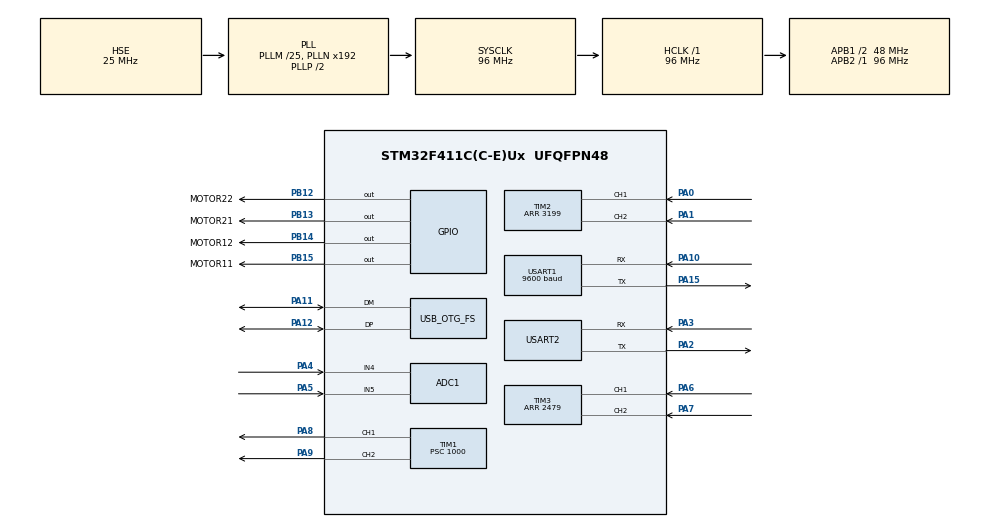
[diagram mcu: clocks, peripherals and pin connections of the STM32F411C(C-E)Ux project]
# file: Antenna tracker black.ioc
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ADC1.Channel-3\#ChannelRegularConversion=ADC_CHANNEL_4
ADC1.Channel-4\#ChannelRegularConversion=ADC_CHANNEL_5
ADC1.ClockPrescaler=ADC_CLOCK_SYNC_PCLK_DIV8
ADC1.ContinuousConvMode=ENABLE
ADC1.DMAContinuousRequests=ENABLE
ADC1.NbrOfConversion=2
ADC1.NbrOfConversionFlag=1
ADC1.Rank-3\#ChannelRegularConversion=1
ADC1.Rank-4\#ChannelRegularConversion=2
ADC1.SamplingTime-3\#ChannelRegularConversion=ADC_SAMPLETIME_480CYCLES
ADC1.SamplingTime-4\#ChannelRegularConversion=ADC_SAMPLETIME_480CYCLES
ADC1.ScanConvMode=ENABLE
ADC1.master=1
Dma.ADC1.0.Direction=DMA_PERIPH_TO_MEMORY
Dma.ADC1.0.FIFOMode=DMA_FIFOMODE_DISABLE
Dma.ADC1.0.Instance=DMA2_Stream0
Dma.ADC1.0.MemDataAlignment=DMA_MDATAALIGN_HALFWORD
Dma.ADC1.0.MemInc=DMA_MINC_ENABLE
Dma.ADC1.0.Mode=DMA_CIRCULAR
Dma.ADC1.0.PeriphDataAlignment=DMA_PDATAALIGN_HALFWORD
Dma.ADC1.0.PeriphInc=DMA_PINC_DISABLE
Dma.ADC1.0.Priority=DMA_PRIORITY_LOW
Dma.Request0=ADC1
Mcu.Family=STM32F4
Mcu.Name=STM32F411C(C-E)Ux
Mcu.Package=UFQFPN48
NVIC.ADC_IRQn=true\:0\:0\:false\:false\:true\:true\:true
NVIC.DMA2_Stream0_IRQn=true\:0\:0\:false\:false\:true\:false\:true
NVIC.OTG_FS_IRQn=true\:0\:0\:false\:false\:true\:false\:true
NVIC.PVD_IRQn=true\:0\:0\:false\:false\:true\:true\:true
NVIC.PriorityGroup=NVIC_PRIORITYGROUP_4
NVIC.TIM1_UP_TIM10_IRQn=true\:0\:0\:false\:false\:true\:true\:true
NVIC.TIM4_IRQn=true\:0\:0\:false\:false\:true\:true\:true
NVIC.TIM5_IRQn=true\:0\:0\:false\:false\:true\:true\:true
NVIC.USART1_IRQn=true\:0\:0\:false\:false\:true\:true\:true
NVIC.USART2_IRQn=true\:0\:0\:false\:false\:true\:true\:true
PA0-WKUP.Signal=S_TIM2_CH1_ETR
PA1.Signal=S_TIM2_CH2
PA10.Mode=Asynchronous
PA10.Signal=USART1_RX
PA11.Mode=Device_Only
PA11.Signal=USB_OTG_FS_DM
PA12.Mode=Device_Only
PA12.Signal=USB_OTG_FS_DP
PA13.Mode=Serial_Wire
PA13.Signal=SYS_JTMS-SWDIO
PA14.Mode=Serial_Wire
PA14.Signal=SYS_JTCK-SWCLK
PA15.Mode=Asynchronous
PA15.Signal=USART1_TX
PA2.Mode=Asynchronous
PA2.Signal=USART2_TX
PA3.Mode=Asynchronous
PA3.Signal=USART2_RX
PA4.Signal=ADCx_IN4
PA5.Signal=ADCx_IN5
PA6.Signal=S_TIM3_CH1
PA7.Signal=S_TIM3_CH2
PA8.Signal=S_TIM1_CH1
PA9.Signal=S_TIM1_CH2
PB12.GPIO_Label=MOTOR22
PB12.Signal=GPIO_Output
PB13.GPIO_Label=MOTOR21
PB13.Signal=GPIO_Output
PB14.GPIO_Label=MOTOR12
PB14.Signal=GPIO_Output
PB15.GPIO_Label=MOTOR11
PB15.Signal=GPIO_Output
PC14-OSC32_IN.Mode=LSE-External-Oscillator
PC14-OSC32_IN.Signal=RCC_OSC32_IN
PC15-OSC32_OUT.Mode=LSE-External-Oscillator
PC15-OSC32_OUT.Signal=RCC_OSC32_OUT
PH0\ -\ OSC_IN.Mode=HSE-External-Oscillator
PH0\ -\ OSC_IN.Signal=RCC_OSC_IN
PH1\ -\ OSC_OUT.Mode=HSE-External-Oscillator
PH1\ -\ OSC_OUT.Signal=RCC_OSC_OUT
ProjectManager.HeapSize=0x200
ProjectManager.StackSize=0x400
ProjectManager.TargetToolchain=STM32CubeIDE
RCC.48MHZClocksFreq_Value=48000000
RCC.AHBFreq_Value=96000000
RCC.APB1CLKDivider=RCC_HCLK_DIV2
RCC.APB1Freq_Value=48000000
RCC.APB1TimFreq_Value=96000000
RCC.APB2Freq_Value=96000000
RCC.APB2TimFreq_Value=96000000
RCC.CortexFreq_Value=96000000
RCC.HCLKFreq_Value=96000000
RCC.HSE_VALUE=25000000
RCC.HSI_VALUE=16000000
RCC.PLLM=25
RCC.RCC_RTC_Clock_Source=RCC_RTCCLKSOURCE_LSI
RCC.RCC_RTC_Clock_SourceVirtual=RCC_RTCCLKSOURCE_LSI
RCC.SYSCLKFreq_VALUE=96000000
RCC.SYSCLKSource=RCC_SYSCLKSOURCE_PLLCLK
RCC.VCOOutputFreq_Value=192000000
SH.ADCx_IN4.0=ADC1_IN4,IN4
SH.ADCx_IN5.0=ADC1_IN5,IN5
SH.S_TIM1_CH1.0=TIM1_CH1,PWM Generation1 CH1
SH.S_TIM1_CH2.0=TIM1_CH2,PWM Generation2 CH2
SH.S_TIM2_CH1_ETR.0=TIM2_CH1,Encoder_Interface
SH.S_TIM2_CH2.0=TIM2_CH2,Encoder_Interface
SH.S_TIM3_CH1.0=TIM3_CH1,Encoder_Interface
SH.S_TIM3_CH2.0=TIM3_CH2,Encoder_Interface
TIM1.Channel-PWM\ Generation1\ CH1=TIM_CHANNEL_1
TIM1.Channel-PWM\ Generation2\ CH2=TIM_CHANNEL_2
TIM1.Period=4096
TIM1.Prescaler=1000
TIM2.Period=3199
TIM3.Period=2479
TIM4.Period=10
TIM4.Prescaler=9600
TIM5.Period=10000
TIM5.Prescaler=9600
USART1.BaudRate=9600
USART1.VirtualMode=VM_ASYNC
USART2.VirtualMode=VM_ASYNC
USB_DEVICE.CLASS_NAME_FS=CDC
USB_DEVICE.VirtualMode=Cdc
USB_DEVICE.VirtualModeFS=Cdc_FS
USB_OTG_FS.VirtualMode=Device_Only
VP_TIM1_VS_ClockSourceINT.Mode=Internal
VP_TIM4_VS_ClockSourceINT.Mode=Internal
VP_TIM5_VS_ClockSourceINT.Mode=Internal
VP_USB_DEVICE_VS_USB_DEVICE_CDC_FS.Mode=CDC_FS
board=custom

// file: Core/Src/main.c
/* USER CODE BEGIN Header */
/**
  ******************************************************************************
  * @file           : main.c
  * @brief          : Main program body
  ******************************************************************************
  * @attention
  *
  * <h2><center>&copy; Copyright (c) 2020 STMicroelectronics.
  * All rights reserved.</center></h2>
  *
  * This software component is licensed by ST under BSD 3-Clause license,
  * the "License"; You may not use this file except in compliance with the
  * License. You may obtain a copy of the License at:
  *                        opensource.org/licenses/BSD-3-Clause
  *
  ******************************************************************************
  */
/* USER CODE END Header */

#include "main.h"
#include "adc.h"
#include "dma.h"
#include "tim.h"
#include "usart.h"
#include "usb_device.h"
#include "gpio.h"

/* USER CODE BEGIN Includes */
#include "pid.h"
#include "GPS.h"
#include <math.h>

/* USER CODE END Includes */

/* USER CODE BEGIN PTD */

typedef struct {
	double Latitude;
	double Longitude;
	double Height;
	uint32_t timestamp;
 }position;

/* USER CODE END PTD */

/* USER CODE BEGIN PV */

uint8_t DataToSend[100]; // Tablica zawierajaca dane do wyslania
uint8_t MessageCounter = 0; // Licznik wyslanych wiadomosci
uint8_t MessageLength = 0; // Zawiera dlugosc wysylanej wiadomosci
uint8_t ReceivedData[100]; // Tablica przechowujaca odebrane dane
uint8_t ReceivedDataFlag = 0; // Flaga informujaca o odebraniu danych

double g_azimuth, g_altitude, g_distance;

volatile uint16_t pulse_count_azimuth = 1600; // Licznik impulsow
volatile double positions_azimuth; // Licznik przekreconych pozycji

volatile uint16_t pulse_count_height = 1240; // Licznik impulsow
volatile double positions_height; // Licznik przekreconych pozycji

volatile int flaga1ms = 0;
volatile int flaga1s = 0;

cpid_t pid_azimuth;
cpid_t pid_height;

//uint16_t feedback[2];

//inicjalizacja dane pozycji - rondo Regana Wrocław
position home_position = { 51.111534, 17.060227, 117.09};
position actual_position = { 51.111534, 17.060227, 117.09};
position old_position = { 51.111534, 17.060227, 117.09};

int setpoint_azimuth = 180;
int setpoint_height = 180;
int pwm_control_height = 0;
int pwm_control_azimuth = 0;

int pwm_control_azimuth_abs = 0;
int pwm_control_height_abs = 0;

int pwm_dir_height = 0;
int pwm_dir_azimuth = 0;

int timer_val = 0;

/* USER CODE END PV */

void SystemClock_Config(void);
/* USER CODE BEGIN PFP */

void HAL_UART_RxCpltCallback(UART_HandleTypeDef *huart) {
 GPS_CallBack();
 //HAL_UART_Transmit_IT(&huart1, "RAMKA", sizeof("RAMKA"));
// HAL_UART_Transmit_IT(&huart1, &Received, 1); // Rozpoczecie nadawania danych z wykorzystaniem przerwan
// HAL_UART_Receive_IT(&huart3, &Received, 1); // Ponowne włączenie nasłuchiwania

 //		GPS.GPGGA.LatitudeDecimal, GPS.GPGGA.LongitudeDecimal, GPS.GPGGA.MSL_Altitude
}

void HAL_TIM_PeriodElapsedCallback(TIM_HandleTypeDef *htim){
	if(htim == &htim4){
			//obsługa przerwania co 1ms
		flaga1ms = 1;
	}
	if(htim == &htim5){
			//obsługa przerwania co 1ms
		flaga1s = 1;
	}
}

int _write(int file, char *ptr, int len){
    //HAL_UART_Transmit(&huart2, (uint8_t*)ptr, len, 50);
    CDC_Transmit_FS((uint8_t*)ptr, len);
    return len;

}

void parse(){
  	char header[1];
  	int32_t PWM1, PWM2, DIR1, DIR2;
  	//PWM1 - height, PWM2 - azimuth

  	sscanf(ReceivedData, "%s %d %d %d %d", &header, &PWM1, &PWM2, &DIR1, &DIR2);
  	if( header[0] == 'S' && PWM1 >= 0 && PWM1 < 65535 && PWM2 >= 0 && PWM2 < 65535 && (DIR1 == 1 || DIR1 == 0) && (DIR2 == 1 || DIR2 == 0) )
  	{
  		//send_json(PWM1, PWM2);
  		__HAL_TIM_SET_COMPARE(&htim1, TIM_CHANNEL_1, PWM1 );
  		__HAL_TIM_SET_COMPARE(&htim1, TIM_CHANNEL_2, PWM2 );

  		if(DIR1 == 1){
  			HAL_GPIO_WritePin(MOTOR11_GPIO_Port, MOTOR11_Pin, GPIO_PIN_SET);
  			HAL_GPIO_WritePin(MOTOR12_GPIO_Port, MOTOR12_Pin, GPIO_PIN_RESET);
  		}

  		if(DIR1 == 0){
  			HAL_GPIO_WritePin(MOTOR11_GPIO_Port, MOTOR11_Pin, GPIO_PIN_RESET);
  			HAL_GPIO_WritePin(MOTOR12_GPIO_Port, MOTOR12_Pin, GPIO_PIN_SET);
  		}

  		if(DIR2 == 1){
  			HAL_GPIO_WritePin(MOTOR21_GPIO_Port, MOTOR21_Pin, GPIO_PIN_SET);
  			HAL_GPIO_WritePin(MOTOR22_GPIO_Port, MOTOR22_Pin, GPIO_PIN_RESET);
  		}

  		if(DIR2 == 0){
  			HAL_GPIO_WritePin(MOTOR21_GPIO_Port, MOTOR21_Pin, GPIO_PIN_RESET);
  			HAL_GPIO_WritePin(MOTOR22_GPIO_Port, MOTOR22_Pin, GPIO_PIN_SET);
  		}

  		if( PWM1 == 0 && PWM2 ==0 ){
  			HAL_GPIO_WritePin(MOTOR11_GPIO_Port, MOTOR11_Pin, GPIO_PIN_RESET);
  			HAL_GPIO_WritePin(MOTOR12_GPIO_Port, MOTOR12_Pin, GPIO_PIN_RESET);
  			HAL_GPIO_WritePin(MOTOR21_GPIO_Port, MOTOR21_Pin, GPIO_PIN_RESET);
  			HAL_GPIO_WritePin(MOTOR22_GPIO_Port, MOTOR22_Pin, GPIO_PIN_RESET);
  		}
  		//send_json(PWM1, PWM2);
  		int a = 0, b = 0, c = 0, d = 0;
  		if(HAL_GPIO_ReadPin(MOTOR11_GPIO_Port, MOTOR11_Pin) == GPIO_PIN_SET) a = 1;
  		if(HAL_GPIO_ReadPin(MOTOR12_GPIO_Port, MOTOR12_Pin) == GPIO_PIN_SET) b = 1;
  		if(HAL_GPIO_ReadPin(MOTOR21_GPIO_Port, MOTOR21_Pin) == GPIO_PIN_SET) c = 1;
  		if(HAL_GPIO_ReadPin(MOTOR22_GPIO_Port, MOTOR22_Pin) == GPIO_PIN_SET) d = 1;

  		printf("MOTOR11:%d MOTOR12:%d MOTOR21:%d MOTOR22:%d PWM1:%d PWM2:%d\r\n",a,b,c,d, PWM1, PWM2 );
  		//send_json_error(message);

//	  	sprintf(DataToSend, "%d %d %d %d \r\n", PWM1, PWM2, DIR1, DIR2);
//	  	printf(DataToSend);
  	}else printf("error - zle dane \r\n");
}

void send_json(int32_t Encoder1, int32_t Encoder2){
	printf("{\"enkoder1\":%d,\"enkoder2\":%d}\r\n", Encoder1, Encoder2);
}

void send_json_ada(double azimuth, double altitude, double distance){
	printf("{\"azimuth\":%f,\"altitude\":%f,\"distance\":%f}\r\n", azimuth, altitude, distance);
	g_azimuth = azimuth;
	g_altitude = altitude;
	g_distance = distance;
}

void send_json_error( char *error){
	printf("{\"error\":\"%s\"}\r\n", error);
}

void send_json_position(position actual, position predicted){
	printf("{\"PositionActual\":{\"Lat\":%f,\"Lon\":%f,\"Height\":%f},\"PositionPredicted\":{\"Lat\":%f,\"Lon\":%f,\"Height\":%f}}\r\n", actual.Latitude, actual.Longitude, actual.Height, predicted.Latitude, predicted.Longitude, predicted.Height );
}

void calc_azimuth(double Latitude1, double Longitude1, double Height1, double Latitude2, double Longitude2, double Height2, double *azimuth, double *distance, double *altitude){ //Latitude = φ Longitude = λ

	Latitude1 *= (M_PI/180);
	Longitude1 *= (M_PI/180);
	Latitude2 *= (M_PI/180);
	Longitude2 *= (M_PI/180);
	Height1 /= 1000;
	Height2 /= 1000;

	double delta_Latitude = (Latitude2 - Latitude1);
	double delta_Longitude = (Longitude2 - Longitude1);
	double delta_Height = Height2 - Height1;

	//θ = atan2 [(sin Δλ * cos φ₂), (cos φ�? * sin φ₂ �?� sin φ�? * cos φ₂ *  cos Δλ)]
	*azimuth = atan2( ( sin(delta_Longitude) * cos(Latitude2) ) , ( (cos(Latitude1) * sin(Latitude2)) - (sin(Latitude1) * cos(Latitude2) * cos(delta_Longitude)) ) ) * (180/ M_PI );
	//Haversine formula:
	//a = sin²(Δφ/2) + cos φ�? * cos φ₂ * sin²(Δλ/2)
	double a = pow( sin(delta_Latitude/2), 2.0 ) + (cos(Latitude1) * cos(Latitude2) * pow(sin(delta_Longitude/2), 2.0));
	//c = 2 * atan2 [�?�a, �?�(1�?�a)]
	double c = 2.0 * atan2( sqrt(a), sqrt(1.0-a));
	//d = R * c, R = 6371 km - radius of the Earth
	double sphere_distance = 6371.0 * c; // in km

	*distance = sqrt( pow(sphere_distance, 2.0) + pow(delta_Height, 2.0));// in km
	*altitude = acos(sphere_distance/ *distance)  * (180/M_PI);
}

void calc_azimuth_obj(position tracker, position object, double *azimuth, double *distance, double *altitude){ //Latitude = φ Longitude = λ

	tracker.Latitude *= (M_PI/180);
	tracker.Longitude *= (M_PI/180);
	object.Latitude *= (M_PI/180);
	object.Longitude *= (M_PI/180);
	tracker.Height /= 1000;
	object.Height /= 1000;

	double delta_Latitude = (object.Latitude - tracker.Latitude);
	double delta_Longitude = (object.Longitude - tracker.Longitude);
	double delta_Height = object.Height - tracker.Height;

	//θ = atan2 [(sin Δλ * cos φ₂), (cos φ�? * sin φ₂ �?� sin φ�? * cos φ₂ *  cos Δλ)]
	*azimuth = atan2( ( sin(delta_Longitude) * cos(object.Latitude) ) , ( (cos(tracker.Latitude) * sin(object.Latitude)) - (sin(tracker.Latitude) * cos(object.Latitude) * cos(delta_Longitude)) ) ) * (180/ M_PI );
	//Haversine formula:
	//a = sin²(Δφ/2) + cos φ�? * cos φ₂ * sin²(Δλ/2)
	double a = pow( sin(delta_Latitude/2), 2.0 ) + (cos(tracker.Latitude) * cos(object.Latitude) * pow(sin(delta_Longitude/2), 2.0));
	//c = 2 * atan2 [�?�a, �?�(1�?�a)]
	double c = 2.0 * atan2( sqrt(a), sqrt(1.0-a));
	//d = R * c, R = 6371 km - radius of the Earth
	double sphere_distance = 6371.0 * c; // in km

	*distance = sqrt( pow(sphere_distance, 2.0) + pow(delta_Height, 2.0));// in km
	*altitude = acos(sphere_distance/ *distance)  * (180/M_PI);
}

void parse_loc(){
  	char header[1];
  	double Latitude1, Longitude1, Height1, Latitude2, Longitude2, Height2, azimuth, distance, altitude;

  	sscanf(ReceivedData, "%s %lf %lf %lf %lf %lf %lf", &header, &Latitude1, &Longitude1, &Height1, &Latitude2, &Longitude2, &Height2);
  	if( header[0] == 'G' )
  	{
  		calc_azimuth( Latitude1,  Longitude1,  Height1,  Latitude2,  Longitude2,  Height2,  &azimuth,  &distance,  &altitude);
  		send_json_ada( azimuth, altitude, distance);
  	}else printf("error - zle dane \r\n");
}

void parse_home_pos(){
  	char header[1];
  	sscanf(ReceivedData, "%s %lf %lf %lf", &header, &home_position.Latitude, &home_position.Longitude, &home_position.Height);
}

void parse_actual_pos(){
  	char header[1];
  	double lat, lon,height;
  	sscanf(ReceivedData, "%s %lf %lf %lf", &header, &actual_position.Latitude, &actual_position.Longitude, &actual_position.Height);
//  	actual_position.Latitude = lat;
//	actual_position.Longitude = lon;
//	actual_position.Height = height;
//	printf("data: %lf,%lf,%lf", lat, lon, height);
}

//very simple prediction by linear approximation
position simple_predict(position actual, position old){
	position predicted;
	predicted.Latitude = 2.0 * actual.Latitude - old.Latitude;
	predicted.Longitude = 2.0 * actual.Longitude - old.Longitude;
	predicted.Height = 2.0 * actual.Height - old.Height;
	return predicted;
}

/* USER CODE END PFP */

int main(void)
{

  /* MCU Configuration--------------------------------------------------------*/

  /* Reset of all peripherals, Initializes the Flash interface and the Systick. */
  HAL_Init();

  /* Configure the system clock */
  SystemClock_Config();

  /* Initialize all configured peripherals */
  MX_GPIO_Init();
  MX_DMA_Init();
  MX_USB_DEVICE_Init();
  MX_TIM1_Init();
  MX_TIM2_Init();
  MX_TIM3_Init();
  MX_ADC1_Init();
  MX_USART1_UART_Init();
  MX_USART2_UART_Init();
  MX_TIM4_Init();
  MX_TIM5_Init();
  /* USER CODE BEGIN 2 */

  HAL_TIMEx_PWMN_Start(&htim1, TIM_CHANNEL_1);
  HAL_TIMEx_PWMN_Start(&htim1, TIM_CHANNEL_2);

  TIM2->CNT = 1600;
  TIM3->CNT = 1240;

  HAL_TIM_Encoder_Start(&htim2, TIM_CHANNEL_ALL);
  HAL_TIM_Encoder_Start(&htim3, TIM_CHANNEL_ALL);

  HAL_TIM_Base_Start_IT(&htim4);
  HAL_TIM_Base_Start_IT(&htim5);

//  HAL_ADC_Start_DMA(&hadc1, feedback, 2);

  pid_init(&pid_azimuth, 80.0f, 0.0f, 50.0f, 10, 1);
  pid_azimuth.p_max = pid_scale(&pid_azimuth, 4095);
  pid_azimuth.p_min = pid_scale(&pid_azimuth, -4095);
  pid_azimuth.i_max = pid_scale(&pid_azimuth, 4095);
  pid_azimuth.i_min = pid_scale(&pid_azimuth, -4095);
  pid_azimuth.d_max = pid_scale(&pid_azimuth, 4095);
  pid_azimuth.d_min = pid_scale(&pid_azimuth, -4095);
  pid_azimuth.total_max = pid_scale(&pid_azimuth, 4095);
  pid_azimuth.total_min = pid_scale(&pid_azimuth, -4095);

  pid_init(&pid_height, 60.0f, 0.0f, 30.0f, 10, 1);//1ms - okres
  pid_height.p_max = pid_scale(&pid_height, 4095);
  pid_height.p_min = pid_scale(&pid_height, -4095);
  pid_height.i_max = pid_scale(&pid_height, 4095);
  pid_height.i_min = pid_scale(&pid_height, -4095);
  pid_height.d_max = pid_scale(&pid_height, 4095);
  pid_height.d_min = pid_scale(&pid_height, -4095);
  pid_height.total_max = pid_scale(&pid_height, 4095);
  pid_height.total_min = pid_scale(&pid_height, -4095);

  /* USER CODE END 2 */

  /* Infinite loop */
  /* USER CODE BEGIN WHILE */
  __HAL_TIM_SET_COMPARE(&htim1, TIM_CHANNEL_1, 0);
    HAL_TIM_PWM_Start(&htim1, TIM_CHANNEL_1);

    __HAL_TIM_SET_COMPARE(&htim1, TIM_CHANNEL_2, 0);
      HAL_TIM_PWM_Start(&htim1, TIM_CHANNEL_2);

		HAL_GPIO_WritePin(MOTOR11_GPIO_Port, MOTOR11_Pin, GPIO_PIN_RESET);
		HAL_GPIO_WritePin(MOTOR12_GPIO_Port, MOTOR12_Pin, GPIO_PIN_RESET);
		HAL_GPIO_WritePin(MOTOR21_GPIO_Port, MOTOR21_Pin, GPIO_PIN_RESET);
		HAL_GPIO_WritePin(MOTOR22_GPIO_Port, MOTOR22_Pin, GPIO_PIN_RESET);
  while (1)
  {
	  timer_val = __HAL_TIM_GET_COUNTER(&htim4);

	  //send_json((int)feedback[0], (int)feedback[1] );
	  pulse_count_azimuth = TIM2->CNT; // przepisanie wartosci z rejestru timera
	  positions_azimuth = pulse_count_azimuth/8.88889; // zeskalowanie impulsow do stopni

	  pulse_count_height = TIM3->CNT; // przepisanie wartosci z rejestru timera
	  positions_height = pulse_count_height/6.88889; // zeskalowanie impulsow do stopni

	  //send_json( positions_height, positions_azimuth );

	  	  if( flaga1ms == 1 ){
	  		  flaga1ms = 0;

				  pwm_control_height = pid_calc(&pid_height, (int)positions_height, setpoint_height);
				  if( pwm_control_height >= 0 ) pwm_dir_height = 1;
				  else pwm_dir_height = 0;
				  pwm_control_height_abs = abs(pwm_control_height);

					__HAL_TIM_SET_COMPARE(&htim1, TIM_CHANNEL_1, pwm_control_height_abs );

					if(pwm_dir_height == 1){
						HAL_GPIO_WritePin(MOTOR11_GPIO_Port, MOTOR11_Pin, GPIO_PIN_SET);
						HAL_GPIO_WritePin(MOTOR12_GPIO_Port, MOTOR12_Pin, GPIO_PIN_RESET);
					}

					if(pwm_dir_height == 0){
						HAL_GPIO_WritePin(MOTOR11_GPIO_Port, MOTOR11_Pin, GPIO_PIN_RESET);
						HAL_GPIO_WritePin(MOTOR12_GPIO_Port, MOTOR12_Pin, GPIO_PIN_SET);
					}

		  		  pwm_control_azimuth = pid_calc(&pid_azimuth, (int)positions_azimuth, setpoint_azimuth);
		  		  if( pwm_control_azimuth >= 0 ) pwm_dir_azimuth = 1;
		  		  else pwm_dir_azimuth = 0;
		  		  pwm_control_azimuth_abs = abs(pwm_control_azimuth);

		    		__HAL_TIM_SET_COMPARE(&htim1, TIM_CHANNEL_2, pwm_control_azimuth_abs );

		    		if(pwm_dir_azimuth == 1){
		      			HAL_GPIO_WritePin(MOTOR21_GPIO_Port, MOTOR21_Pin, GPIO_PIN_SET);
		      			HAL_GPIO_WritePin(MOTOR22_GPIO_Port, MOTOR22_Pin, GPIO_PIN_RESET);
		    		}

		    		if(pwm_dir_azimuth == 0){
		      			HAL_GPIO_WritePin(MOTOR21_GPIO_Port, MOTOR21_Pin, GPIO_PIN_RESET);
		      			HAL_GPIO_WritePin(MOTOR22_GPIO_Port, MOTOR22_Pin, GPIO_PIN_SET);
		    		}

	  	  }

	  	if( flaga1s == 1 ){
	  		flaga1s = 0;
	  		if(setpoint_height == 180) setpoint_height = 150;
	  		else setpoint_height = 180;
	  		if(setpoint_azimuth == 180) setpoint_azimuth = 150;
	  		else setpoint_azimuth = 180;
	  	}

//	  send_json( positions_height, positions_azimuth );
//
//	  pwm_control_height = pid_calc(&pid_height, (int)positions_height, setpoint_height)/10;

//	  while( positions_azimuth > 310 || positions_azimuth < 50 || positions_height > 310 || positions_height < 50 ){
//			__HAL_TIM_SET_COMPARE(&htim1, TIM_CHANNEL_1, 0 );
//			__HAL_TIM_SET_COMPARE(&htim1, TIM_CHANNEL_2, 0 );
//			HAL_GPIO_WritePin(MOTOR11_GPIO_Port, MOTOR11_Pin, GPIO_PIN_RESET);
//			HAL_GPIO_WritePin(MOTOR12_GPIO_Port, MOTOR12_Pin, GPIO_PIN_RESET);
//			HAL_GPIO_WritePin(MOTOR21_GPIO_Port, MOTOR21_Pin, GPIO_PIN_RESET);
//			HAL_GPIO_WritePin(MOTOR22_GPIO_Port, MOTOR22_Pin, GPIO_PIN_RESET);
//			HAL_Delay(100);
//			//send_json((int)feedback[0], (int)feedback[1] );
//			send_json_error("Poza zakresem");
//	  }

//	  if(ReceivedDataFlag == 1){
//	  	ReceivedDataFlag = 0;
//	  	//parse();
//	  	if(ReceivedData[0] == 'S') parse();
//	  	else if (ReceivedData[0] == 'G') parse_loc();
//	  	else if (ReceivedData[0] == 'H') parse_home_pos();
//	  	else if (ReceivedData[0] == 'A'){
//	  		parse_actual_pos();
//		  	send_json_position( actual_position , simple_predict( actual_position, old_position ) );
//		  	//HAL_Delay(5000);
//		  	old_position.Latitude = actual_position.Latitude;
//		  	old_position.Longitude = actual_position.Longitude;
//		  	old_position.Height = actual_position.Height;
//	  	}
//	  	else send_json_error( "Bad data frame construction!");
//	  }
	  //HAL_Delay(100);

    /* USER CODE END WHILE */

  }
}

void SystemClock_Config(void)
{
  RCC_OscInitTypeDef RCC_OscInitStruct = {0};
  RCC_ClkInitTypeDef RCC_ClkInitStruct = {0};

  /** Configure the main internal regulator output voltage
  */
  __HAL_RCC_PWR_CLK_ENABLE();
  __HAL_PWR_VOLTAGESCALING_CONFIG(PWR_REGULATOR_VOLTAGE_SCALE1);
  /** Initializes the CPU, AHB and APB busses clocks
  */
  RCC_OscInitStruct.OscillatorType = RCC_OSCILLATORTYPE_HSE;
  RCC_OscInitStruct.HSEState = RCC_HSE_ON;
  RCC_OscInitStruct.PLL.PLLState = RCC_PLL_ON;
  RCC_OscInitStruct.PLL.PLLSource = RCC_PLLSOURCE_HSE;
  RCC_OscInitStruct.PLL.PLLM = 25;
  RCC_OscInitStruct.PLL.PLLN = 192;
  RCC_OscInitStruct.PLL.PLLP = RCC_PLLP_DIV2;
  RCC_OscInitStruct.PLL.PLLQ = 4;
  if (HAL_RCC_OscConfig(&RCC_OscInitStruct) != HAL_OK)
  {
    Error_Handler();
  }
  /** Initializes the CPU, AHB and APB busses clocks
  */
  RCC_ClkInitStruct.ClockType = RCC_CLOCKTYPE_HCLK|RCC_CLOCKTYPE_SYSCLK
                              |RCC_CLOCKTYPE_PCLK1|RCC_CLOCKTYPE_PCLK2;
  RCC_ClkInitStruct.SYSCLKSource = RCC_SYSCLKSOURCE_PLLCLK;
  RCC_ClkInitStruct.AHBCLKDivider = RCC_SYSCLK_DIV1;
  RCC_ClkInitStruct.APB1CLKDivider = RCC_HCLK_DIV2;
  RCC_ClkInitStruct.APB2CLKDivider = RCC_HCLK_DIV1;

  if (HAL_RCC_ClockConfig(&RCC_ClkInitStruct, FLASH_LATENCY_3) != HAL_OK)
  {
    Error_Handler();
  }
}

void Error_Handler(void)
{
}

/************************ (C) COPYRIGHT STMicroelectronics *****END OF FILE****/
